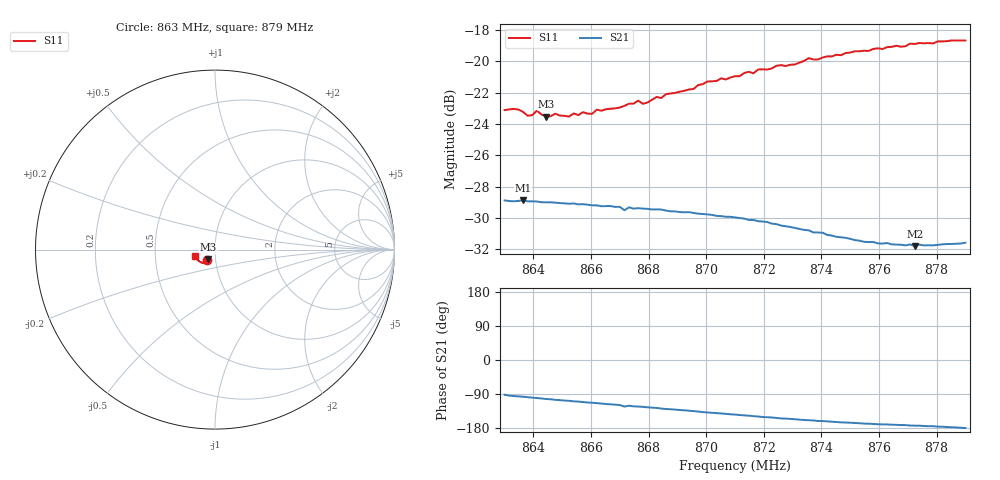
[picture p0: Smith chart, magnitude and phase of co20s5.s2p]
# HZ S RI R 50
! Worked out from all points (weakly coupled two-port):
!   101 points, 863 MHz to 879 MHz, reference 50 ohm
!   highest |S21| = -28.87 dB at 863.64 MHz (marker M1); lowest = -31.8 dB at 877.24 MHz (marker M2)
!   lowest |S11| = -23.5 dB at 864.44 MHz (marker M3), VSWR 1.14, Z = 46.1 - j5.08 ohm
!   |S11| at or under -10 dB: start of sweep to end of sweep
!   S12 and S22 are empty: the file has one direction only
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8.63e8  -0.0418 -0.056  -0.00111 -0.036  0 0  0 0
8.6364e8  -0.0412 -0.0553  -0.00431 -0.0358  0 0  0 0
8.638e8  -0.0384 -0.055  -0.00507 -0.0354  0 0  0 0
8.6412e8  -0.0424 -0.0552  -0.00645 -0.0351  0 0  0 0
8.6444e8  -0.0378 -0.0549  -0.00799 -0.0346  0 0  0 0
8.6476e8  -0.0379 -0.0566  -0.00927 -0.0342  0 0  0 0
8.6524e8  -0.0364 -0.0559  -0.0107 -0.0334  0 0  0 0
8.6572e8  -0.0345 -0.0596  -0.0125 -0.0327  0 0  0 0
8.6604e8  -0.0347 -0.0585  -0.0135 -0.032  0 0  0 0
8.662e8  -0.0358 -0.0603  -0.014 -0.0317  0 0  0 0
8.67e8  -0.0352 -0.0619  -0.0165 -0.0301  0 0  0 0
8.6716e8  -0.0346 -0.0633  -0.0182 -0.0281  0 0  0 0
8.6732e8  -0.035 -0.0644  -0.0174 -0.0294  0 0  0 0
8.6764e8  -0.0359 -0.0658  -0.0184 -0.0286  0 0  0 0
8.678e8  -0.0347 -0.0645  -0.0188 -0.0282  0 0  0 0
8.6844e8  -0.0366 -0.0671  -0.0208 -0.0265  0 0  0 0
8.7004e8  -0.0451 -0.0735  -0.0243 -0.0216  0 0  0 0
8.71e8  -0.05 -0.0744  -0.0257 -0.0187  0 0  0 0
8.7372e8  -0.0699 -0.0736  -0.0266 -0.00992  0 0  0 0
8.7644e8  -0.0934 -0.0606  -0.0257 -0.00422  0 0  0 0
8.7724e8  -0.0997 -0.0548  -0.0255 -0.00301  0 0  0 0
8.79e8  -0.1106 -0.0372  -0.0263 -0.000292  0 0  0 0
